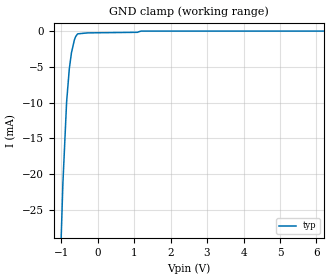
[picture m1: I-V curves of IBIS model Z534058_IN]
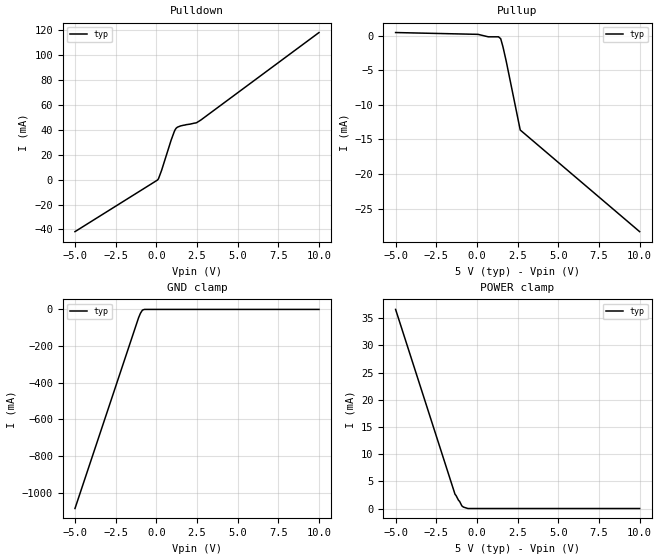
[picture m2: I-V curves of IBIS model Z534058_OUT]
| YOU ARE ONLY AUTHORIZED TO USE THIS SOFTWARE
| ACCORDING TO LICENSOR'S LICENSE RESTRICTIONS.
[IBIS Ver] 3.1
[File Name] sn54ls175j.ibs
[File Rev] 2.0
[Source] Measured and created by ICX Technology
[Date] Friday 7/14/00 9:08:14 AM
[Copyright]
| (C) COPYRIGHT 1993-2000
| MENTOR GRAPHICS CORPORATION
| ICX STANDARD LIBRARY, ICX PROJECT MODELING,
| ICX CUSTOM MODELING, ICX VENDOR MODEL
| ALL RIGHTS RESERVED.
| THE FOLLOWING ARE TRADEMARKS OR SERVICE MARKS OF
| MENTOR GRAPHICS CORPORATION:ICX (R), ICX STANDARD
| LIBRARY(R), ICX PROJECT MODELING(R), ICX CUSTOM
| MODELING(R), qualityIBIS(TM), MODELVIEWER(TM),
| AND MODELEDITOR(TM)
| ALL COPIES OF SOFTWARE, INCLUDING BUT NOT LIMITED TO
| ANY MODIFICATIONS, ENHANCEMENTS OR DERIVATIVE WORKS,
| MUST CONTAIN ALL MENTOR GRAPHICS CORPORATION'S
| NOTICES AND LEGENDS, INCLUDING THOSE EMBEDDED IN
| SOFTWARE AND THOSE AFFIXED TO SOFTWARE MEDIUM
| AND CONTAINER, AS RECEIVED FROM MENTOR GRAPHICS
| CORPORATION.
|  ZAP Model Builder 2.7
[Component] SN54LS175J
[Manufacturer] OnSemiconductor
[Package]
| variable   typ   min   max
R_pkg  .212ohms NA NA
L_pkg  4.758nH NA NA
C_pkg  1.944pF NA NA
[Pin] signal_name  model_name  R_pin  L_pin C_pin
1 _CLR Z534058_IN .224 7.258n 2.683p
2 Q0 Z534058_OUT .216 5.258n 2.19p
3 _Q0 Z534058_OUT .208 3.758n 1.697p
4 D0 Z534058_IN .2 2.758n 1.204p
5 D1 Z534058_IN .2 2.758n 1.204p
6 _Q1 Z534058_OUT .208 3.758n 1.697p
7 Q1 Z534058_OUT .216 5.258n 2.19p
8 GND GND .224 7.258n 2.683p
9 CLK Z534058_IN .224 7.258n 2.683p
10 Q2 Z534058_OUT .216 5.258n 2.19p
11 _Q2 Z534058_OUT .208 3.758n 1.697p
12 D2 Z534058_IN .2 2.758n 1.204p
13 D3 Z534058_IN .2 2.758n 1.204p
14 _Q3 Z534058_OUT .208 3.758n 1.697p
15 Q3 Z534058_OUT .216 5.258n 2.19p
16 VCC POWER .224 7.258n 2.683p
| Models and submodels in the file (2): Z534058_IN (Input), Z534058_OUT (Output)
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| (C) COPYRIGHT 1993-2000
| MENTOR GRAPHICS CORPORATION
| ICX STANDARD LIBRARY, ICX PROJECT MODELING,
| ICX CUSTOM MODELING, ICX VENDOR MODEL
| ALL RIGHTS RESERVED.
| THE FOLLOWING ARE TRADEMARKS OR SERVICE MARKS OF
| MENTOR GRAPHICS CORPORATION:ICX (R), ICX STANDARD
| LIBRARY(R), ICX PROJECT MODELING(R), ICX CUSTOM
| MODELING(R), qualityIBIS(TM), MODELVIEWER(TM),
| AND MODELEDITOR(TM)
| ALL COPIES OF SOFTWARE, INCLUDING BUT NOT LIMITED TO
| ANY MODIFICATIONS, ENHANCEMENTS OR DERIVATIVE WORKS,
| MUST CONTAIN ALL MENTOR GRAPHICS CORPORATION'S
| NOTICES AND LEGENDS, INCLUDING THOSE EMBEDDED IN
| SOFTWARE AND THOSE AFFIXED TO SOFTWARE MEDIUM
| AND CONTAINER, AS RECEIVED FROM MENTOR GRAPHICS
| CORPORATION.
| Model Application Version 1.89 2/18/99.
[Model] Z534058_IN
Model_type Input
Vinl = 800.0mV
Vinh = 2.000V
C_comp 4.000pF NA NA
| variable typ   min   max
[Voltage Range] 5.000V NA NA
[GND Clamp Reference] 0.000V NA NA
[POWER Clamp Reference] 5.000V NA NA
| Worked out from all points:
|   GND clamp passes 1 mA (typ) near -0.62 V on its own axis
[GND Clamp]
-5V       -678.6mA   NA         NA
-952.1mV  -21.39mA   NA         NA
-849.5mV  -9.892mA   NA         NA
-774.7mV  -5.238mA   NA         NA
-717.9mV  -3.059mA   NA         NA
-634.7mV  -1.192mA   NA         NA
-600.6mV  -756.9uA   NA         NA
-546.9mV  -380.3uA   NA         NA
-273.4mV  -245.6uA   NA         NA
1.089V    -165.1uA   NA         NA
1.188V    5.956uA    NA         NA
10V       5.956uA    NA         NA
[POWER Clamp]
-5V       0A         NA         NA
10V       0A         NA         NA
| (C) COPYRIGHT 1993-2000
| MENTOR GRAPHICS CORPORATION
| ICX STANDARD LIBRARY, ICX PROJECT MODELING,
| ICX CUSTOM MODELING, ICX VENDOR MODEL
| ALL RIGHTS RESERVED.
| THE FOLLOWING ARE TRADEMARKS OR SERVICE MARKS OF
| MENTOR GRAPHICS CORPORATION:ICX (R), ICX STANDARD
| LIBRARY(R), ICX PROJECT MODELING(R), ICX CUSTOM
| MODELING(R), qualityIBIS(TM), MODELVIEWER(TM),
| AND MODELEDITOR(TM)
| ALL COPIES OF SOFTWARE, INCLUDING BUT NOT LIMITED TO
| ANY MODIFICATIONS, ENHANCEMENTS OR DERIVATIVE WORKS,
| MUST CONTAIN ALL MENTOR GRAPHICS CORPORATION'S
| NOTICES AND LEGENDS, INCLUDING THOSE EMBEDDED IN
| SOFTWARE AND THOSE AFFIXED TO SOFTWARE MEDIUM
| AND CONTAINER, AS RECEIVED FROM MENTOR GRAPHICS
| CORPORATION.
| Model Application Version 1.89 2/18/99.
[Model] Z534058_OUT
Model_type Output
Vref=5.000V
Rref=2.000kohms
Cref=15.00pF
Vmeas=1.300V
C_comp 8.000pF NA NA
| variable typ   min   max
[Voltage Range] 5.000V NA NA
[POWER Clamp Reference] 5.000V NA NA
[Pullup Reference] 5.000V NA NA
[Pulldown Reference] 0.000V NA NA
[GND Clamp Reference] 0.000V NA NA
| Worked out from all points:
|   slope of the pulldown table from 0 to 0.75 V, typ, clamps not added: 28.9 ohm
|   slope of the pullup table from 0 to 0.75 V, typ, clamps not added: 2.09 kohm
|   GND clamp passes 1 mA (typ) near -0.76 V on its own axis
|   POWER clamp passes 1 mA (typ) near -1.01 V on its own axis
[GND Clamp]
-5V       -1.087A    NA         NA
-1.089V   -45.01mA   NA         NA
-975.7mV  -21.11mA   NA         NA
-854mV    -3.861mA   NA         NA
-732mV    0A         NA         NA
10V       0A         NA         NA
[Pulldown]
-5V       -41.75mA   NA         NA
68.4mV    -330.7uA   NA         NA
131.8mV   697.6uA    NA         NA
322.3mV   7.384mA    NA         NA
908.6mV   31.67mA    NA         NA
1.103V    38.61mA    NA         NA
1.221V    41.35mA    NA         NA
1.299V    42.19mA    NA         NA
2.434V    45.59mA    NA         NA
2.729V    47.83mA    NA         NA
10V       118.2mA    NA         NA
[Pullup]
-5V       429.5uA    NA         NA
68mV      167.1uA    NA         NA
695.5mV   -188uA     NA         NA
1.323V    -188uA     NA         NA
1.46V     -458uA     NA         NA
1.601V    -1.648mA   NA         NA
1.797V    -3.682mA   NA         NA
2.661V    -13.65mA   NA         NA
10V       -28.33mA   NA         NA
[POWER Clamp]
-5V       36.61mA    NA         NA
-1.347V   2.612mA    NA         NA
-1.289V   2.414mA    NA         NA
-1.128V   1.486mA    NA         NA
-1.069V   1.335mA    NA         NA
-928mV    489uA      NA         NA
-831mV    266.7uA    NA         NA
-554mV    0A         NA         NA
10V       0A         NA         NA
[Ramp]
| variable typ min max
dV/dt_r 1.754/11.97n NA NA
dV/dt_f 1.754/2.829n NA NA
R_load = 500.0Ohms
